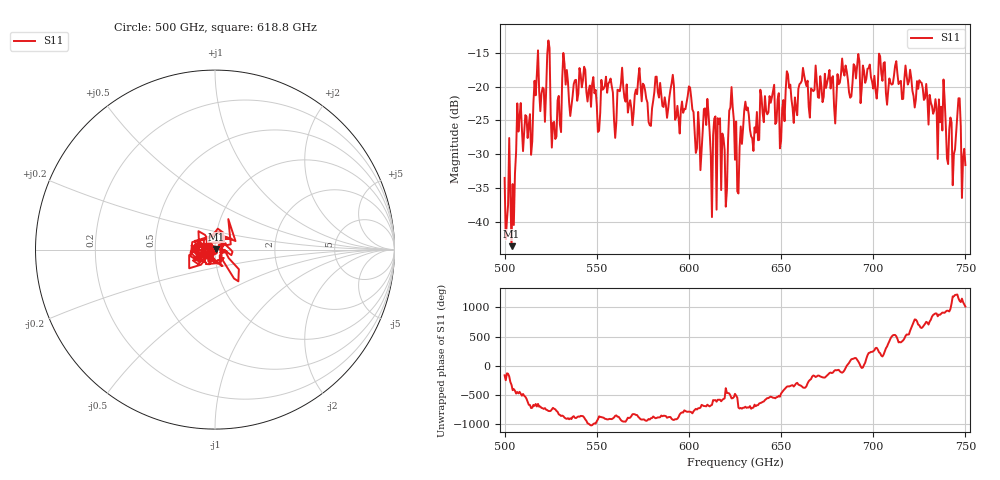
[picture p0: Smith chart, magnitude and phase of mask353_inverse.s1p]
!Created with skrf (http://scikit-rf.org).
# GHz S MA R 50.0
!freq magS11 angS11
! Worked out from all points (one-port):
!   401 points, 500 GHz to 750 GHz, reference 50 ohm
!   lowest |S11| = -43.6 dB at 503.8 GHz (marker M1), VSWR 1.01, Z = 50.6 + j0.371 ohm
!   |S11| at or under -10 dB: start of sweep to end of sweep
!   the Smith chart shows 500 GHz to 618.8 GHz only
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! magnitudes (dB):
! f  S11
! 500 GHz  -33.5
! 503.8 GHz  -43.6
! 507.5 GHz  -26.6
! 513.8 GHz  -24.1
! 516.9 GHz  -21.3
! 523.8 GHz  -13.2
! 526.9 GHz  -25.2
! 531.2 GHz  -18.8
! 550.6 GHz  -26.7
! 556.2 GHz  -19.6
! 560 GHz  -27.6
! 562.5 GHz  -20.7
! 578.8 GHz  -25.7
! 590.6 GHz  -19.5
! 593.8 GHz  -22.8
! 600 GHz  -20.0
! 605 GHz  -23.7
! 609.4 GHz  -25.7
! 611.9 GHz  -30.1
! 620 GHz  -37.8
! 623.1 GHz  -20.1
! 625 GHz  -30.8
! 656.2 GHz  -23.2
! 687.5 GHz  -21.6
! 718.8 GHz  -19.7
! 743.8 GHz  -30.0
! 746.2 GHz  -21.7
! 750 GHz  -31.6
